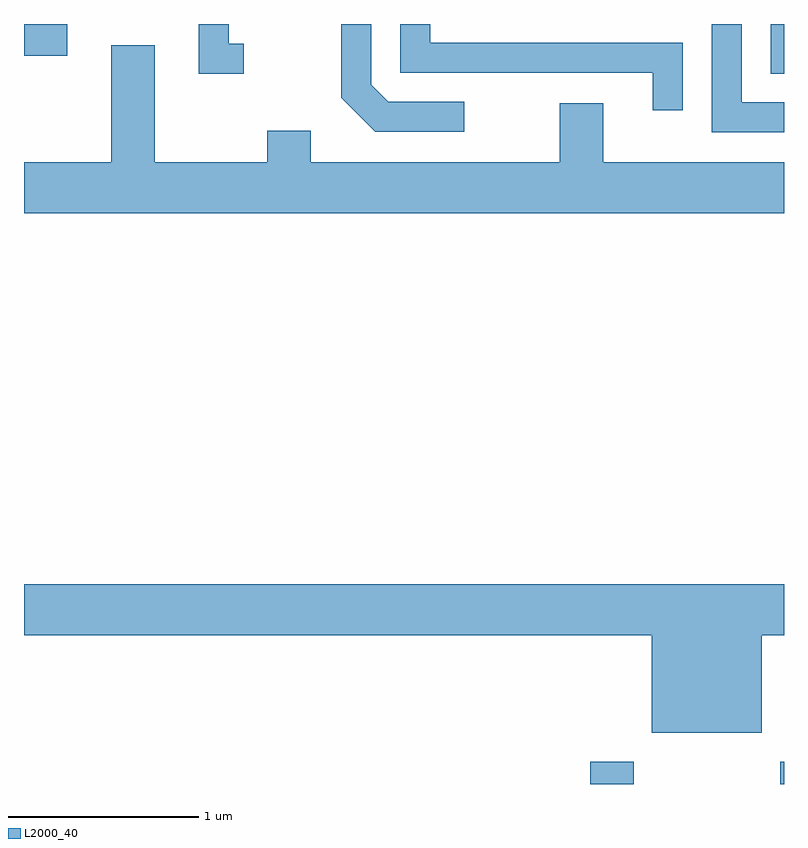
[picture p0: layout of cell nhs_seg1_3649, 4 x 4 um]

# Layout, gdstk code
import gdstk
lib = gdstk.Library(unit=1e-6, precision=1e-09)
def R(c, l, rs):  # rectangles x0, y0, x1, y1
    for r in rs: c.add(gdstk.rectangle(r[:2], r[2:], *l))
def P(c, l, *ps):  # polygons
    for p in ps: c.add(gdstk.Polygon(p, *l))
L2000_40 = (2000, 40)

nhs_seg1_3649 = lib.new_cell('nhs_seg1_3649')
R(nhs_seg1_3649, L2000_40, [(298.591,867.712,298.819,867.829), (299.591,867.712,299.611,867.829), (299.541,871.451,299.611,871.712), (295.611,871.546,295.839,871.712)])
P(nhs_seg1_3649, L2000_40, [(296.768,871.609),(296.689,871.609),(296.689,871.712),(296.531,871.712),(296.531,871.451),(296.768,871.451)],
  [(297.928,871.304),(297.527,871.304),(297.439,871.392),(297.439,871.712),(297.281,871.712),(297.281,871.324),(297.459,871.146),(297.928,871.146)],
  [(299.079,871.614),(297.749,871.614),(297.749,871.712),(297.591,871.712),(297.591,871.456),(298.921,871.456),(298.921,871.258),(299.079,871.258)],
  [(299.611,871.299),(299.389,871.299),(299.389,871.712),(299.231,871.712),(299.231,871.141),(299.611,871.141)],
  [(299.611,870.984),(298.659,870.984),(298.659,871.294),(298.431,871.294),(298.431,870.984),(297.119,870.984),(297.119,871.149),(296.891,871.149),(296.891,870.984),(296.299,870.984),(296.299,871.599),(296.071,871.599),(296.071,870.984),(295.611,870.984),(295.611,870.716),(299.611,870.716)],
  [(299.494,868.496),(299.611,868.496),(299.611,868.764),(295.611,868.764),(295.611,868.496),(298.916,868.496),(298.916,867.981),(299.494,867.981)])

lib.write_gds('nhs_seg1_3649.gds')
